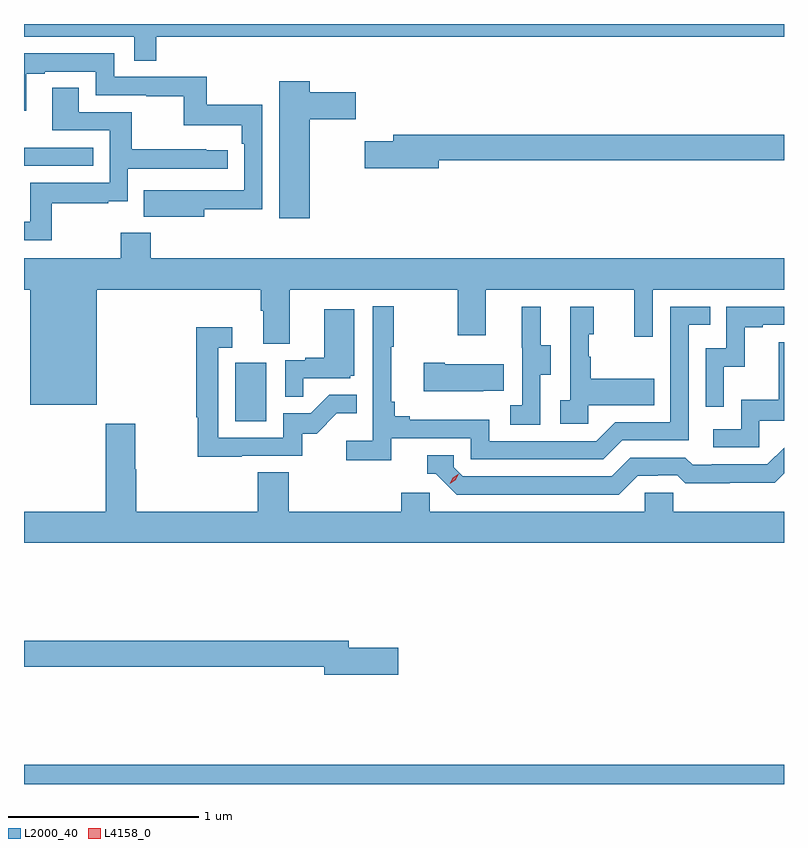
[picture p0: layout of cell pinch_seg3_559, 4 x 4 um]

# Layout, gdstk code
import gdstk
lib = gdstk.Library(unit=1e-6, precision=1e-09)
def R(c, l, rs):  # rectangles x0, y0, x1, y1
    for r in rs: c.add(gdstk.rectangle(r[:2], r[2:], *l))
def P(c, l, *ps):  # polygons
    for p in ps: c.add(gdstk.Polygon(p, *l))
L2000_40 = (2000, 40)
L4158_0 = (4158, 0)

pinch_seg3_559 = lib.new_cell('pinch_seg3_559')
R(pinch_seg3_559, L2000_40, [(1116.81,686.326,1120.81,686.428), (1117.922,688.236,1118.086,688.543), (1116.81,689.58,1117.175,689.676)])
P(pinch_seg3_559, L2000_40, [(1117.505,690.26),(1120.81,690.26),(1120.81,690.326),(1116.81,690.326),(1116.81,690.26),(1117.389,690.26),(1117.389,690.133),(1117.505,690.133)],
  [(1117.759,689.35),(1118.064,689.35),(1118.064,689.902),(1117.771,689.902),(1117.771,690.048),(1117.284,690.048),(1117.284,690.171),(1116.81,690.171),(1116.81,689.87),(1116.823,689.87),(1116.823,690.063),(1116.919,690.063),(1116.919,690.075),(1117.188,690.075),(1117.188,689.952),(1117.453,689.952),(1117.453,689.947),(1117.65,689.947),(1117.65,689.792),(1117.955,689.792),(1117.955,689.696),(1117.968,689.696),(1117.968,689.451),(1117.655,689.451),(1117.655,689.452),(1117.441,689.452),(1117.441,689.312),(1117.759,689.312)],
  [(1118.314,689.825),(1118.557,689.825),(1118.557,689.967),(1118.314,689.967),(1118.314,690.025),(1118.153,690.025),(1118.153,689.304),(1118.314,689.304)],
  [(1116.955,689.382),(1117.253,689.382),(1117.253,689.393),(1117.356,689.393),(1117.356,689.565),(1117.882,689.565),(1117.882,689.661),(1117.769,689.661),(1117.769,689.666),(1117.376,689.666),(1117.376,689.862),(1117.099,689.862),(1117.099,689.99),(1116.959,689.99),(1116.959,689.766),(1117.26,689.766),(1117.26,689.49),(1116.844,689.49),(1116.844,689.284),(1116.81,689.284),(1116.81,689.187),(1116.955,689.187)],
  [(1118.992,689.608),(1120.81,689.608),(1120.81,689.744),(1118.753,689.744),(1118.753,689.708),(1118.604,689.708),(1118.604,689.566),(1118.992,689.566)],
  [(1117.192,688.928),(1118.057,688.928),(1118.057,688.816),(1118.069,688.816),(1118.069,688.642),(1118.209,688.642),(1118.209,688.928),(1119.094,688.928),(1119.094,688.689),(1119.241,688.689),(1119.241,688.928),(1120.022,688.928),(1120.022,688.68),(1120.119,688.68),(1120.119,688.928),(1120.81,688.928),(1120.81,689.092),(1117.478,689.092),(1117.478,689.227),(1117.318,689.227),(1117.318,689.092),(1116.81,689.092),(1116.81,688.928),(1116.842,688.928),(1116.842,688.322),(1117.192,688.322)],
  [(1118.744,688.146),(1119.162,688.146),(1119.162,688.035),(1119.859,688.035),(1119.958,688.134),(1120.308,688.134),(1120.308,688.743),(1120.421,688.743),(1120.421,688.839),(1120.212,688.839),(1120.212,688.23),(1119.921,688.23),(1119.822,688.131),(1119.258,688.131),(1119.258,688.243),(1118.839,688.243),(1118.839,688.262),(1118.762,688.262),(1118.762,688.339),(1118.743,688.339),(1118.743,688.627),(1118.755,688.627),(1118.755,688.84),(1118.646,688.84),(1118.646,688.132),(1118.505,688.132),(1118.505,688.03),(1118.744,688.03)],
  [(1120.494,688.523),(1120.604,688.523),(1120.604,688.731),(1120.699,688.731),(1120.699,688.743),(1120.81,688.743),(1120.81,688.839),(1120.506,688.839),(1120.506,688.62),(1120.398,688.62),(1120.398,688.311),(1120.494,688.311)],
  [(1119.528,688.48),(1119.583,688.48),(1119.583,688.635),(1119.529,688.635),(1119.529,688.837),(1119.431,688.837),(1119.431,688.623),(1119.432,688.623),(1119.432,688.319),(1119.369,688.319),(1119.369,688.216),(1119.528,688.216)],
  [(1119.78,688.319),(1120.127,688.319),(1120.127,688.459),(1119.793,688.459),(1119.793,688.574),(1119.783,688.574),(1119.783,688.692),(1119.808,688.692),(1119.808,688.837),(1119.684,688.837),(1119.684,688.346),(1119.633,688.346),(1119.633,688.221),(1119.78,688.221)],
  [(1118.279,688.461),(1118.526,688.461),(1118.526,688.476),(1118.548,688.476),(1118.548,688.825),(1118.39,688.825),(1118.39,688.57),(1118.291,688.57),(1118.291,688.557),(1118.184,688.557),(1118.184,688.363),(1118.279,688.363)],
  [(1117.955,688.053),(1118.274,688.053),(1118.274,688.17),(1118.35,688.17),(1118.457,688.277),(1118.561,688.277),(1118.561,688.376),(1118.417,688.376),(1118.319,688.278),(1118.175,688.278),(1118.175,688.149),(1117.833,688.149),(1117.833,688.623),(1117.906,688.623),(1117.906,688.729),(1117.717,688.729),(1117.717,688.256),(1117.725,688.256),(1117.725,688.048),(1117.955,688.048)],
  [(1120.68,688.239),(1120.81,688.239),(1120.81,688.651),(1120.783,688.651),(1120.783,688.348),(1120.584,688.348),(1120.584,688.194),(1120.437,688.194),(1120.437,688.098),(1120.68,688.098)],
  [(1119.227,688.397),(1119.335,688.397),(1119.335,688.534),(1119.025,688.534),(1119.025,688.542),(1118.913,688.542),(1118.913,688.394),(1119.227,688.394)],
  [(1120.81,687.76),(1120.227,687.76),(1120.227,687.858),(1120.077,687.858),(1120.077,687.76),(1118.946,687.76),(1118.946,687.858),(1118.795,687.858),(1118.795,687.76),(1118.204,687.76),(1118.204,687.968),(1118.039,687.968),(1118.039,687.76),(1117.4,687.76),(1117.4,687.983),(1117.395,687.983),(1117.395,688.222),(1117.24,688.222),(1117.24,687.76),(1116.81,687.76),(1116.81,687.596),(1120.81,687.596)],
  [(1120.039,687.948),(1120.146,687.948),(1120.146,687.951),(1120.249,687.951),(1120.291,687.909),(1120.524,687.909),(1120.524,687.911),(1120.76,687.911),(1120.81,687.961),(1120.81,688.096),(1120.722,688.008),(1120.429,688.008),(1120.429,688.005),(1120.33,688.005),(1120.291,688.044),(1120.002,688.044),(1119.903,687.945),(1119.12,687.945),(1119.072,687.993),(1119.072,688.056),(1118.933,688.056),(1118.933,687.96),(1118.976,687.96),(1119.087,687.849),(1119.94,687.849)],
  [(1118.779,687.044),(1118.518,687.044),(1118.518,687.08),(1116.81,687.08),(1116.81,686.944),(1118.39,686.944),(1118.39,686.902),(1118.779,686.902)])
P(pinch_seg3_559, L4158_0, [(1119.05,687.906),(1119.05,687.906),(1119.066,687.939),(1119.097,687.958),(1119.097,687.958),(1119.097,687.958),(1119.081,687.925),(1119.05,687.906)])

lib.write_gds('pinch_seg3_559.gds')
